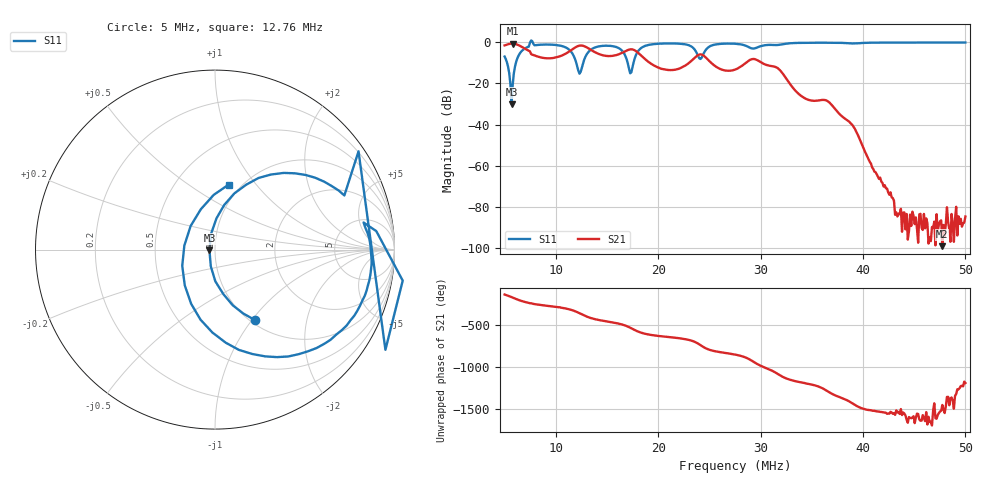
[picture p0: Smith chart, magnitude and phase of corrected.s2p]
! S11/S21 only; reverse parameters are placeholders. Device calibration unverified.
! [Saver CAL applied] C:\Users\aknya\MyProjects\rf-simulator\calibration2.cal | Ideal standards assumed | Input: NanoVNA F V2 profile | COM3 | 2026-09-08T12:22:47.0115489-04:00 | device calibration unverified
# HZ S RI R 50
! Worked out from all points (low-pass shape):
!   401 points, 5 MHz to 50 MHz, reference 50 ohm
!   highest |S21| = -0.69 dB at 5.787 MHz (marker M1); lowest = -98.9 dB at 47.75 MHz (marker M2)
!   |S21| within 3 dB of the highest: start of sweep to 7.186 MHz; 11.55 MHz to 13.42 MHz (1.863 MHz wide, 14.9 % of centre)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
!   lowest |S11| = -30.1 dB at 5.675 MHz (marker M3), VSWR 1.06, Z = 47 - j0.375 ohm
!   |S11| at or under -10 dB: 5.239 MHz to 6.105 MHz (866.3 kHz wide, 15.3 % of centre); 12 MHz to 12.67 MHz (675.2 kHz wide, 5.47 % of centre); 17.02 MHz to 17.59 MHz (572.6 kHz wide, 3.31 % of centre)
!   S12 and S22 are empty: the file has one direction only
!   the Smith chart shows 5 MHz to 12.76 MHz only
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5000000  0.2206 -0.3912  -0.6751 -0.4914  0 0  0 0
5675000  -0.031 -0.00399  -0.9185 -0.0922  0 0  0 0
5787500  -0.0214 0.0887  -0.9235 -0.000508  0 0  0 0
7250000  0.6886 0.3295  -0.3229 0.5543  0 0  0 0
7812500  0.8986 0.1031  -0.1252 0.4725  0 0  0 0
1.13e7  0.2785 -0.5947  0.4456 0.3896  0 0  0 0
1.25375e7  -0.0789 0.2249  0.7822 -0.2726  0 0  0 0
1.47875e7  0.8149 -0.0736  -0.0761 -0.4632  0 0  0 0
1.6475e7  0.3299 -0.5235  -0.4202 -0.3578  0 0  0 0
1.72625e7  -0.1703 -0.0451  -0.6681 -0.0336  0 0  0 0
1.805e7  0.3213 0.5207  -0.3932 0.3841  0 0  0 0
2.0075e7  0.9164 0.0499  0.0269 0.2374  0 0  0 0
2.39e7  0.362 -0.2838  0.4841 -0.0578  0 0  0 0
2.46875e7  0.6678 0.0303  0.1785 -0.3758  0 0  0 0
2.75e7  0.8029 -0.4421  -0.157 -0.1485  0 0  0 0
2.975e7  0.6878 -0.3276  -0.098 0.3448  0 0  0 0
3.14375e7  0.7296 -0.4458  0.247 0.047  0 0  0 0
3.50375e7  0.7032 -0.6692  -0.0264 -0.0275  0 0  0 0
3.88625e7  0.5328 -0.7664  0.0102 0.00217  0 0  0 0
4.2575e7  0.4411 -0.8702  -9.47e-05 -0.000175  0 0  0 0
4.775e7  0.243 -0.9482  1.09e-05 -2.96e-06  0 0  0 0
5e7  0.1574 -0.9693  -2.45e-05 -5.38e-05  0 0  0 0
